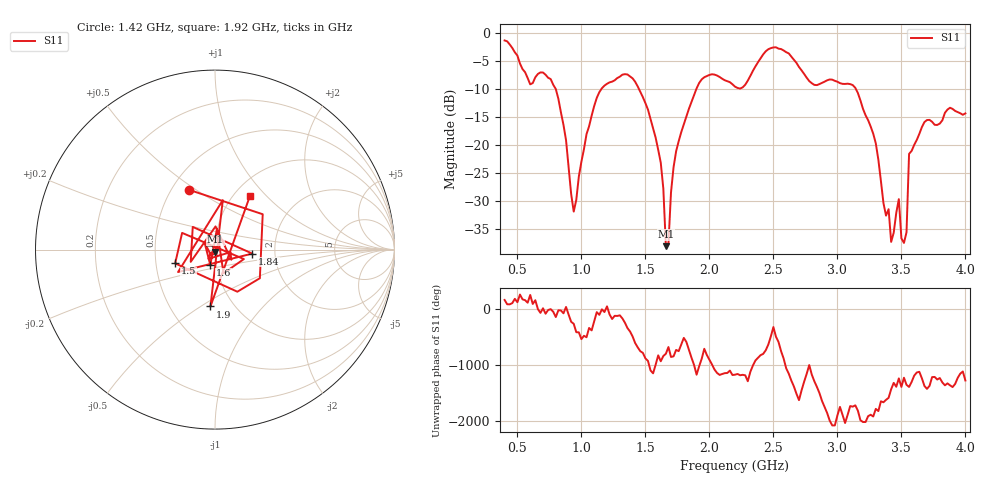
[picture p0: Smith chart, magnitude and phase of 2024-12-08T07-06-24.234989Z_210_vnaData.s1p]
!Created with skrf (http://scikit-rf.org).
# Hz S RI R 50.0
!freq ReS11 ImS11
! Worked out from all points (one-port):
!   181 points, 400 MHz to 4 GHz, reference 50 ohm
!   lowest |S11| = -38.2 dB at 1.66 GHz (marker M1), VSWR 1.03, Z = 50.2 - j1.22 ohm
!   |S11| at or under -10 dB: 798.1 MHz to 1.158 GHz (360.1 MHz wide, 36.8 % of centre); 1.448 GHz to 1.899 GHz (450.9 MHz wide, 26.9 % of centre); 3.143 GHz to end of sweep
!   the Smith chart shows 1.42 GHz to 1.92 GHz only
!   S11 on the Smith chart (normalised r, x): 1.42 GHz: 0.61, +0.47; 1.5 GHz: 0.63, -0.10; 1.6 GHz: 0.94, -0.16; 1.84 GHz: 1.52, -0.07; 1.9 GHz: 0.78, -0.55; 1.92 GHz: 1.18, +0.81
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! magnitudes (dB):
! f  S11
! 400 MHz  -1.4
! 600 MHz  -9.2
! 760 MHz  -8.3
! 860 MHz  -16.5
! 940 MHz  -32.0
! 1.12 GHz  -11.7
! 1.3 GHz  -7.9
! 1.42 GHz  -8.8
! 1.5 GHz  -12.6
! 1.6 GHz  -20.9
! 1.64 GHz  -27.9
! 1.66 GHz  -38.2
! 1.76 GHz  -19.4
! 1.84 GHz  -13.6
! 1.9 GHz  -10.0
! 1.92 GHz  -9.0
! 2.2 GHz  -9.6
! 2.46 GHz  -3.0
! 2.66 GHz  -4.8
! 3.1 GHz  -9.2
! 3.3 GHz  -19.8
! 3.42 GHz  -37.4
! 3.48 GHz  -29.7
! 3.5 GHz  -36.8
! 3.54 GHz  -35.7
! 3.56 GHz  -21.7
! 3.7 GHz  -15.6
! 4 GHz  -14.4
